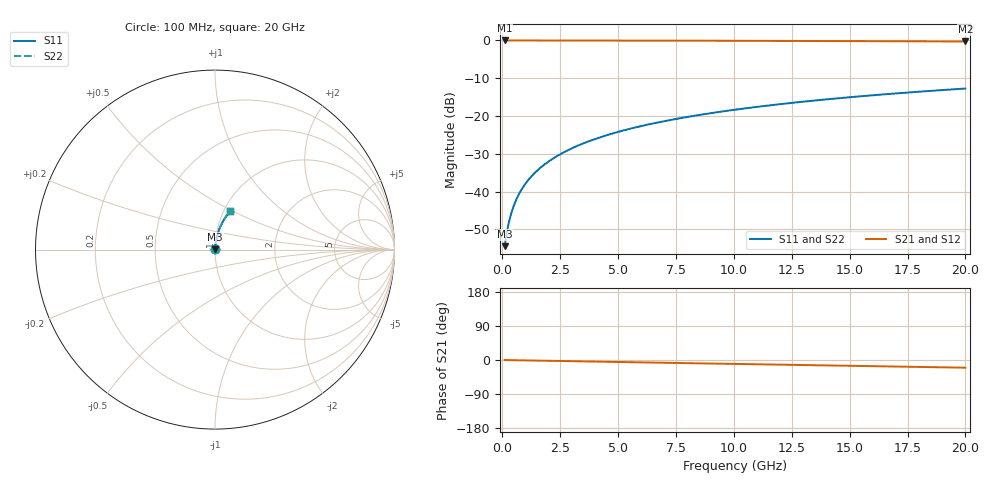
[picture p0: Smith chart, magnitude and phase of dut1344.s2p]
! Touchstone file exported from HFSS 2026.1.0
!  File:  C:/ffzhzh/LocalFiles/Ansys_Project_Files/temp_train_TMRDL_1344_1783165416_55132.aedt
!  Generated:  07:44:49 PM Jul  4, 2026
!  Design:  TMRDL
!  Project:  temp_train_TMRDL_1344_1783165416_55132
! Variables:
!  h_bsmrdl = 2um
!  h_ox = 20um
!  h_rdl = 5um
!  h_sub = 80um
!  h_tmrdl = 3.99um
!  h_tsv = 80um
!  h_via = 3um
!  l_bsmrdl = 300um
!  l_sub = 635.98um
!  l_tmrdl = 235.98um
!  m_sub = 200um
!  pitch = 50.58um
!  r_tsv = 6um
!  s_tmrdl = 10um
!  w_bsmrdl = 18um
!  w_sub = 500um
!  w_tmrdl = 17.49um
!  x_tsv_center1 = 244.725um
!  x_tsv_center2 = 562.725um
!  x_tsv_center3 = 816.195um
!  x_tsv_center4 = 1134.195um
!  x_tsv_center5 = 1387.665um
!  x_tsv_center6 = 1705.665um
# GHz S MA R 50.000000
! Terminal data exported
! Port[1] = TM_RDL1_1_T1
! Port[2] = TM_RDL1_1_T2
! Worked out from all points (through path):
!   200 points, 100 MHz to 20 GHz, reference 50 ohm
!   highest |S21| = -0.01 dB at 100 MHz (marker M1); lowest = -0.3 dB at 20 GHz (marker M2)
!   group delay of S21, straight-line fit = 2.81 ps
!   lowest |S11| = -54.5 dB at 100 MHz (marker M3), VSWR 1.00, Z = 50.1 + j0.131 ohm
!   |S11| at or under -10 dB: start of sweep to end of sweep
!   |S22| runs from -54.5 to -12.7 dB; largest |S21 - S12| = 2.6e-15
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0.1  0.00189 43.9  0.9986 -0.1  0.9986 -0.1  0.00189 43.9
! Gamma 0 0 0 0
! Port Impedance 50 0 50 0
0.2  0.002921 62.0  0.9986 -0.2  0.9986 -0.2  0.002914 61.5
0.3  0.004092 70.0  0.9985 -0.3  0.9985 -0.3  0.004074 69.6
0.4  0.005305 74.2  0.9985 -0.4  0.9985 -0.4  0.005281 74.0
0.5  0.006532 76.8  0.9984 -0.5  0.9984 -0.5  0.006505 76.6
0.6  0.007763 78.5  0.9984 -0.6  0.9984 -0.6  0.007736 78.4
0.8  0.01023 80.6  0.9983 -0.9  0.9983 -0.9  0.0102 80.6
1.1  0.01392 82.2  0.9983 -1.2  0.9983 -1.2  0.0139 82.2
1.5  0.01884 83.2  0.9981 -1.6  0.9981 -1.6  0.01883 83.3
1.8  0.02252 83.6  0.998 -1.9  0.998 -1.9  0.02252 83.6
2.1  0.02621 83.8  0.9978 -2.2  0.9978 -2.2  0.02621 83.8
2.7  0.03357 83.8  0.9975 -2.8  0.9975 -2.8  0.03357 83.8
3.5  0.04334 83.5  0.9969 -3.7  0.9969 -3.7  0.04334 83.5
4.2  0.05185 83.0  0.9963 -4.4  0.9963 -4.4  0.05185 83.0
5  0.06152 82.3  0.9955 -5.2  0.9955 -5.2  0.06152 82.3
5.9  0.07231 81.6  0.9945 -6.2  0.9945 -6.2  0.07231 81.6
6.8  0.08302 80.8  0.9934 -7.1  0.9934 -7.1  0.08302 80.7
8.3  0.1007 79.4  0.9914 -8.6  0.9914 -8.6  0.1007 79.4
10.1  0.1216 77.7  0.9886 -10.5  0.9886 -10.5  0.1216 77.7
13.4  0.1591 74.6  0.9826 -13.8  0.9826 -13.8  0.1592 74.5
16.7  0.1956 71.5  0.9755 -17.0  0.9755 -17.0  0.1956 71.4
20  0.2307 68.4  0.9674 -20.2  0.9674 -20.2  0.2307 68.3
